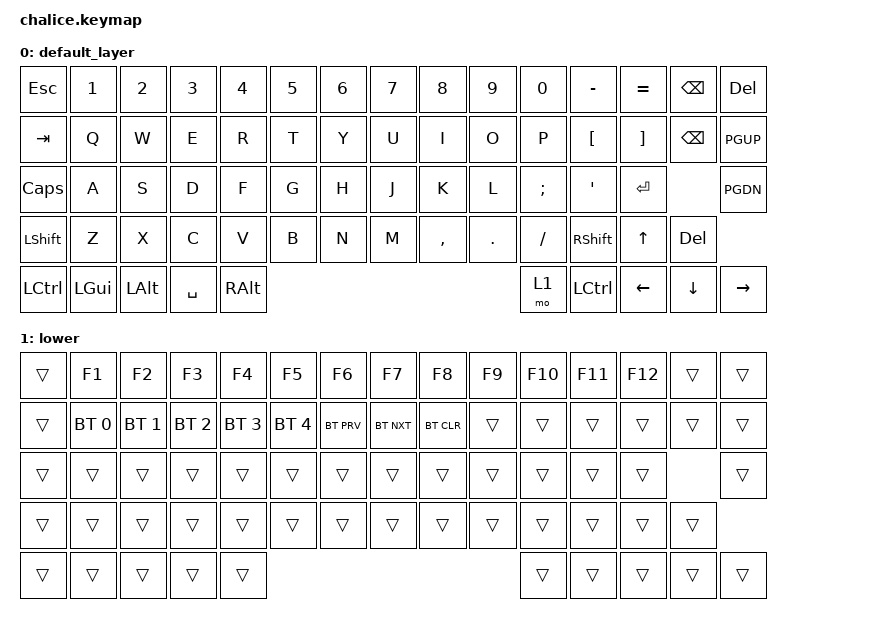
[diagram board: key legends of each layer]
/*
 * Copyright (c) 2021 The ZMK Contributors
 *
 * SPDX-License-Identifier: MIT
 */

#include <behaviors.dtsi>
#include <dt-bindings/zmk/keys.h>
#include <dt-bindings/zmk/bt.h>
#include <dt-bindings/zmk/outputs.h>

/ {
//         keymap {
//                 compatible = "zmk,keymap";

//                 default_layer {

//                         bindings = <
//    &kp ESC         &kp GRAVE    &kp N1       &kp N2       &kp N3       &kp N4       &kp N5       &kp N6       &kp N7       &kp N8       &kp N9       &kp N0       &kp MINUS    &kp EQUAL    &kp BSPC
//    &kp INSERT      &kp TAB      &kp Q        &kp W        &kp E        &kp R        &kp T        &kp Y        &kp U        &kp I        &kp O        &kp P        &kp LBKT     &kp RBKT     &kp BSLH
//    &kp DELETE      &kp CAPS     &kp A        &kp S        &kp D        &kp F        &kp G        &kp H        &kp J        &kp K        &kp L        &kp SEMI     &kp SQT      &kp ENTER
//                    &kp LSHFT    &kp Z        &kp X        &kp C        &kp V        &kp B        &kp B        &kp N        &kp M        &kp COMMA    &kp DOT      &kp SLASH    &kp RSHFT    &kp UP
//                    &kp LCTRL                 &kp LALT                  &kp SPACE    &mo 1                     &kp SPACE                 &kp RALT                  &kp RCTRL    &kp LEFT     &kp DOWN     &kp RIGHT
//                                 >;
//                         };

//                 function_layer {

//                         bindings = <
//    &bootloader     &out OUT_TOG &kp F1           &kp F2          &kp F3          &kp F4       &kp F5       &kp F6       &kp F7       &kp F8       &kp F9       &kp F10      &kp F11      &kp F12      &trans
//    &trans          &bt BT_CLR   &rgb_ug RGB_TOG  &rgb_ug RGB_HUD &rgb_ug RGB_HUI &trans       &trans       &trans       &trans       &trans       &trans       &trans       &trans       &trans       &trans
//    &trans          &bt BT_SEL 0 &rgb_ug RGB_EFF  &rgb_ug RGB_SAD &rgb_ug RGB_SAI &trans       &trans       &trans       &trans       &trans       &trans       &trans       &trans       &trans
//                    &bt BT_SEL 1 &rgb_ug RGB_EFR  &rgb_ug RGB_BRD &rgb_ug RGB_BRI &trans       &trans       &trans       &trans       &trans       &trans       &trans       &trans       &trans       &kp PG_UP
//                    &bt BT_SEL 2                  &trans                          &trans       &trans                    &trans                    &trans                    &trans       &kp HOME     &kp PG_DN    &kp END
//                                 >;
//                         };
//         };
    keymap {
        compatible = "zmk,keymap";

        default_layer {
            bindings = <
                &kp ESC     &kp 1     &kp 2     &kp 3     &kp 4     &kp 5     &kp 6     &kp 7     &kp 8     &kp 9     &kp 0     &kp MINUS  &kp EQUAL &kp BSPC   &kp DEL
                &kp TAB     &kp Q     &kp W     &kp E     &kp R     &kp T     &kp Y     &kp U     &kp I     &kp O     &kp P     &kp LBKT   &kp RBKT  &kp BSPC   &kp PGUP
                &kp CAPS    &kp A     &kp S     &kp D     &kp F     &kp G     &kp H     &kp J     &kp K     &kp L     &kp SEMI  &kp SQT    &kp ENTER            &kp PGDN
                &kp LSHIFT  &kp Z     &kp X     &kp C     &kp V     &kp B     &kp N     &kp M     &kp COMMA &kp DOT   &kp SLASH &kp RSHIFT &kp UP    &kp DEL
                &kp LCTRL   &kp LGUI  &kp LALT                      &kp SPACE                               &kp RALT  &mo 1  &kp LCTRL  &kp LEFT  &kp DOWN   &kp RIGHT
            >;
        };

        lower {
            bindings = <
                &trans    &kp F1        &kp F2        &kp F3        &kp F4        &kp F5        &kp F6     &kp F7     &kp F8      &kp F9  &kp F10 &kp F11  &kp F12  &trans    &trans
                &trans    &bt BT_SEL 0  &bt BT_SEL 1  &bt BT_SEL 2  &bt BT_SEL 3  &bt BT_SEL 4  &bt BT_PRV &bt BT_NXT &bt BT_CLR  &trans  &trans  &trans   &trans   &trans    &trans
                &trans    &trans        &trans        &trans        &trans        &trans        &trans     &trans     &trans      &trans  &trans  &trans   &trans             &trans
                &trans    &trans        &trans        &trans        &trans        &trans        &trans     &trans     &trans      &trans  &trans  &trans   &trans   &trans
                &trans    &trans        &trans                      &trans                                                        &trans  &trans  &trans   &trans   &trans    &trans
            >;
        };
    };
};
